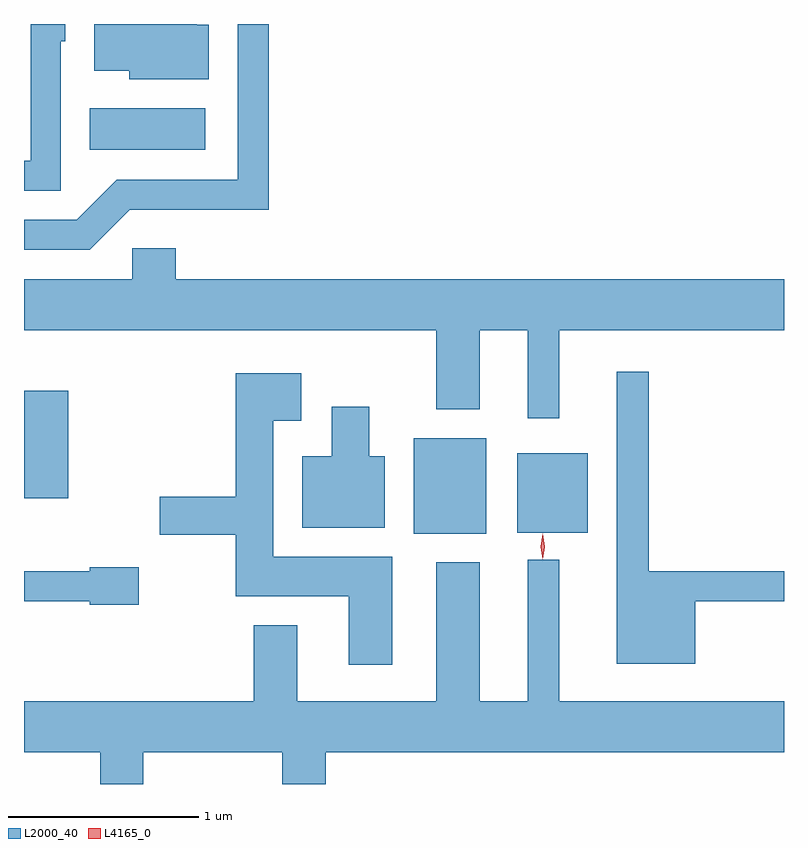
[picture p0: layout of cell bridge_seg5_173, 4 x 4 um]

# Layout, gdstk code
import gdstk
lib = gdstk.Library(unit=1e-6, precision=1e-09)
def R(c, l, rs):  # rectangles x0, y0, x1, y1
    for r in rs: c.add(gdstk.rectangle(r[:2], r[2:], *l))
def P(c, l, *ps):  # polygons
    for p in ps: c.add(gdstk.Polygon(p, *l))
L2000_40 = (2000, 40)
L4165_0 = (4165, 0)

bridge_seg5_173 = lib.new_cell('bridge_seg5_173')
R(bridge_seg5_173, L2000_40, [(1249.641,1400.226,1250.024,1400.729), (1250.186,1400.231,1250.559,1400.649), (1247.591,1400.411,1247.824,1400.979), (1247.936,1402.246,1248.544,1402.464)])
P(bridge_seg5_173, L2000_40, [(1247.784,1402.816),(1247.809,1402.816),(1247.809,1402.908),(1247.626,1402.908),(1247.626,1402.189),(1247.591,1402.189),(1247.591,1402.031),(1247.784,1402.031)],
  [(1248.564,1402.904),(1248.499,1402.904),(1248.499,1402.908),(1247.961,1402.908),(1247.961,1402.661),(1248.146,1402.661),(1248.146,1402.616),(1248.564,1402.616)],
  [(1248.147,1401.931),(1248.879,1401.931),(1248.879,1402.908),(1248.716,1402.908),(1248.716,1402.089),(1248.079,1402.089),(1247.869,1401.879),(1247.591,1401.879),(1247.591,1401.721),(1247.937,1401.721)],
  [(1250.409,1401.296),(1251.591,1401.296),(1251.591,1401.564),(1248.389,1401.564),(1248.389,1401.729),(1248.161,1401.729),(1248.161,1401.564),(1247.591,1401.564),(1247.591,1401.296),(1249.761,1401.296),(1249.761,1400.881),(1249.989,1400.881),(1249.989,1401.296),(1250.241,1401.296),(1250.241,1400.833),(1250.409,1400.833)],
  [(1251.124,1399.871),(1251.591,1399.871),(1251.591,1400.029),(1250.879,1400.029),(1250.879,1401.078),(1250.711,1401.078),(1250.711,1399.541),(1251.124,1399.541)],
  [(1249.529,1400.104),(1248.904,1400.104),(1248.904,1400.821),(1249.049,1400.821),(1249.049,1401.069),(1248.706,1401.069),(1248.706,1400.419),(1248.306,1400.419),(1248.306,1400.221),(1248.706,1400.221),(1248.706,1399.896),(1249.301,1399.896),(1249.301,1399.536),(1249.529,1399.536)],
  [(1249.489,1400.634),(1249.409,1400.634),(1249.409,1400.894),(1249.211,1400.894),(1249.211,1400.634),(1249.056,1400.634),(1249.056,1400.256),(1249.489,1400.256)],
  [(1248.219,1399.076),(1248.951,1399.076),(1248.951,1398.908),(1249.179,1398.908),(1249.179,1399.076),(1251.591,1399.076),(1251.591,1399.344),(1250.409,1399.344),(1250.409,1400.088),(1250.241,1400.088),(1250.241,1399.344),(1249.989,1399.344),(1249.989,1400.074),(1249.761,1400.074),(1249.761,1399.344),(1249.029,1399.344),(1249.029,1399.744),(1248.801,1399.744),(1248.801,1399.344),(1247.591,1399.344),(1247.591,1399.076),(1247.991,1399.076),(1247.991,1398.908),(1248.219,1398.908)],
  [(1248.194,1400.049),(1247.936,1400.049),(1247.936,1400.029),(1247.591,1400.029),(1247.591,1399.871),(1247.936,1399.871),(1247.936,1399.851),(1248.194,1399.851)])
P(bridge_seg5_173, L4165_0, [(1250.321,1400.093),(1250.321,1400.093),(1250.311,1400.157),(1250.32,1400.221),(1250.321,1400.222),(1250.321,1400.221),(1250.331,1400.157),(1250.322,1400.093)],
  [(1250.321,1400.09),(1250.321,1400.09),(1250.311,1400.158),(1250.32,1400.225),(1250.32,1400.226),(1250.321,1400.225),(1250.331,1400.158),(1250.322,1400.09)])

lib.write_gds('bridge_seg5_173.gds')
